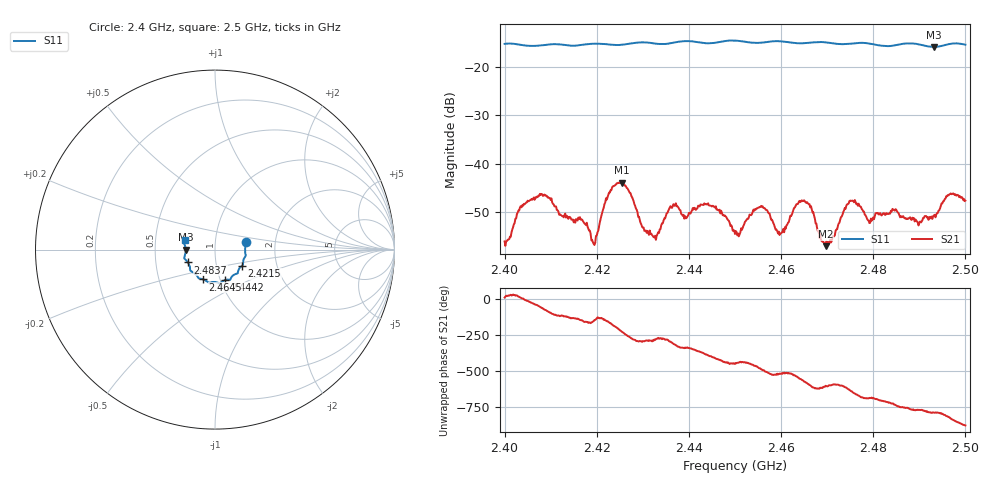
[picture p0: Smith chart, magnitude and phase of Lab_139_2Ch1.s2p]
# Hz S RI R 50
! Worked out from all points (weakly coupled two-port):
!   601 points, 2.4 GHz to 2.5 GHz, reference 50 ohm
!   highest |S21| = -43.99 dB at 2.4255 GHz (marker M1); lowest = -57.2 dB at 2.4697 GHz (marker M2)
!   lowest |S11| = -15.7 dB at 2.4932 GHz (marker M3), VSWR 1.39, Z = 35.9 - j0.0505 ohm
!   |S11| at or under -10 dB: start of sweep to end of sweep
!   S12 and S22 are empty: the file has one direction only
!   S11 on the Smith chart (normalised r, x): 2.4 GHz: 1.41, +0.12; 2.4215 GHz: 1.33, -0.25; 2.4442 GHz: 1.05, -0.37; 2.4645 GHz: 0.83, -0.29; 2.4837 GHz: 0.73, -0.11; 2.5 GHz: 0.71, +0.07
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2.4e9  0.1713 0.0402  0.00151 0.000311  0 0  0 0
2.407667e9  0.1682 -0.0178  0.00289 -0.00387  0 0  0 0
2.416667e9  0.1568 -0.0698  -0.00216 -0.00147  0 0  0 0
2.419333e9  0.1549 -0.0846  -0.00129 -0.000676  0 0  0 0
2.4215e9  0.151 -0.0899  -0.00279 -0.00203  0 0  0 0
2.4255e9  0.1321 -0.1108  -0.00427 0.00466  0 0  0 0
2.430333e9  0.1255 -0.1326  0.000774 0.00183  0 0  0 0
2.433333e9  0.1084 -0.1383  -2.84e-05 0.00192  0 0  0 0
2.436333e9  0.0907 -0.1553  0.00187 0.0029  0 0  0 0
2.444167e9  0.0565 -0.1693  0.00332 -0.00195  0 0  0 0
2.45e9  0.0253 -0.1891  -3.44e-05 -0.00184  0 0  0 0
2.4555e9  -0.0124 -0.1805  -0.0019 -0.00297  0 0  0 0
2.460167e9  -0.0365 -0.1832  -0.00174 -0.000782  0 0  0 0
2.4645e9  -0.0659 -0.166  -0.00381 0.00159  0 0  0 0
2.466667e9  -0.0828 -0.1621  -0.00117 0.0031  0 0  0 0
2.469667e9  -0.093 -0.1573  -0.000616 0.00123  0 0  0 0
2.475167e9  -0.1245 -0.1258  0.000733 0.004  0 0  0 0
2.483333e9  -0.149 -0.0751  0.00298 -6.86e-05  0 0  0 0
2.483667e9  -0.1509 -0.0718  0.00301 -0.000131  0 0  0 0
2.493167e9  -0.1635 -0.000684  0.000967 -0.0027  0 0  0 0
2.496333e9  -0.1718 0.0316  -0.000968 -0.00456  0 0  0 0
2.5e9  -0.1652 0.0507  -0.00385 -0.00143  0 0  0 0
